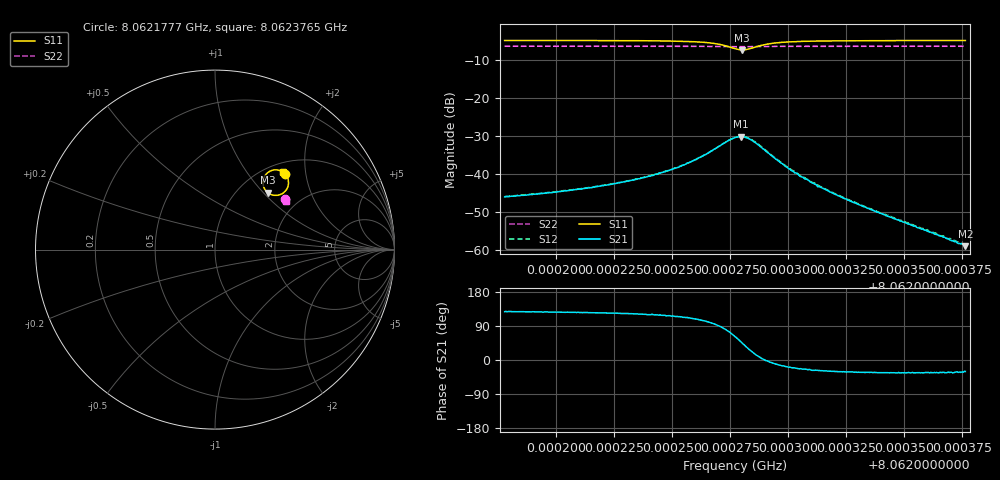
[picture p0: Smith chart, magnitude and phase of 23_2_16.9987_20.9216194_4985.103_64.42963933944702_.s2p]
#  HZ  S  RI  R  50.00
! Rohde & Schwarz Vector Network Analyzer
! Rohde-Schwarz,ZNB20-2Port,1311601062101988,3.16
! Created: UTC 3/20/2024, 10:53:04 PM
! freq[Hz]  re:S11  im:S11  re:S21  im:S21  re:S12  im:S12  re:S22  im:S22
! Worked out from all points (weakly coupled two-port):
!   401 points, 8.0621777 GHz to 8.0623765 GHz, reference 50 ohm
!   highest |S21| = -30.17 dB at 8.0622796 GHz (marker M1); lowest = -59.1 dB at 8.0623765 GHz (marker M2)
!   lowest |S11| = -7.3 dB at 8.0622801 GHz (marker M3), VSWR 2.52, Z = 67.7 + j52.9 ohm
!   |S11| at or under -10 dB: nowhere
!   |S22| runs from -6.4 to -6.3 dB; largest |S21 - S12| = 0.0014
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8.06217768e9  0.3897 0.4231  -0.00303 0.00392  -0.00284 0.00412  0.3921 0.2808
8.06219309e9  0.3922 0.4202  -0.00329 0.0044  -0.00305 0.0046  0.3928 0.28
8.06221099e9  0.3956 0.4161  -0.00363 0.00516  -0.00339 0.00543  0.3932 0.279
8.06222889e9  0.3999 0.4091  -0.0042 0.00655  -0.00385 0.00683  0.3939 0.2777
8.0622443e9  0.4052 0.398  -0.0048 0.00901  -0.00437 0.00916  0.3945 0.2764
8.06225474e9  0.4089 0.3834  -0.00499 0.0121  -0.0043 0.0123  0.3948 0.2755
8.0622617e9  0.4093 0.366  -0.00454 0.0158  -0.0037 0.0159  0.3947 0.2744
8.06226717e9  0.4034 0.3441  -0.00254 0.02  -0.00145 0.0201  0.3942 0.2732
8.06227214e9  0.3827 0.3173  0.00273 0.025  0.00391 0.0249  0.3932 0.2723
8.06227711e9  0.3315 0.3022  0.014 0.0267  0.0152 0.026  0.3911 0.2721
8.06227959e9  0.299 0.3138  0.0207 0.0231  0.0217 0.0225  0.3901 0.2727
8.06228009e9  0.2932 0.3179  0.0217 0.022  0.0228 0.0213  0.39 0.2731
8.06228208e9  0.2751 0.3401  0.0248 0.0167  0.0259 0.016  0.3895 0.2742
8.06228457e9  0.267 0.3716  0.0256 0.0099  0.0265 0.00896  0.3896 0.2755
8.06228805e9  0.2756 0.4069  0.0227 0.00253  0.0234 0.00154  0.3905 0.2767
8.06229153e9  0.292 0.4274  0.0188 -0.00124  0.019 -0.00228  0.3918 0.2774
8.06230197e9  0.3304 0.4439  0.0102 -0.00384  0.0102 -0.00439  0.3938 0.2767
8.06231042e9  0.3466 0.444  0.00674 -0.00348  0.00671 -0.00383  0.3949 0.2763
8.0623134e9  0.3505 0.4433  0.00602 -0.00315  0.00593 -0.00359  0.395 0.2761
8.06232434e9  0.361 0.4409  0.00405 -0.00244  0.00395 -0.00271  0.3958 0.2752
8.06234372e9  0.3708 0.4366  0.00225 -0.00151  0.00217 -0.00167  0.3967 0.274
8.06237653e9  0.3793 0.4317  0.000958 -0.00056  0.000923 -0.000674  0.3981 0.2722
